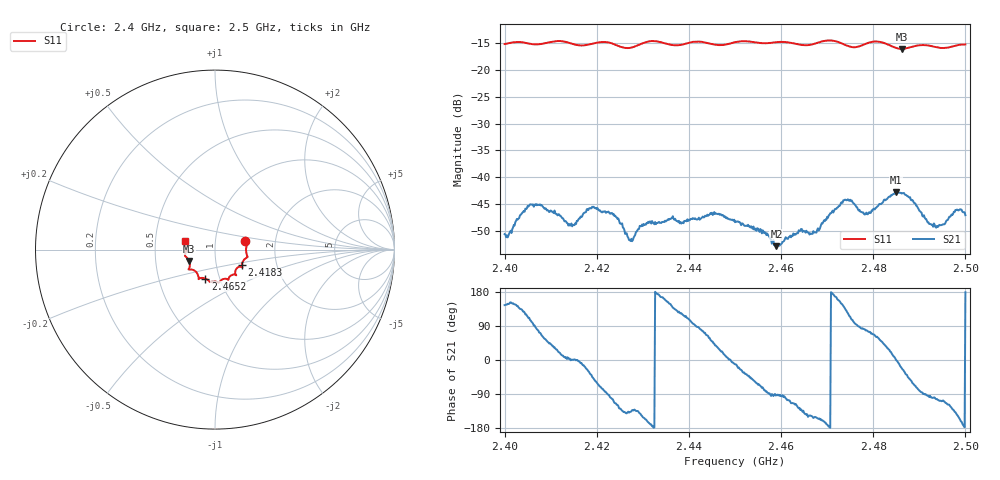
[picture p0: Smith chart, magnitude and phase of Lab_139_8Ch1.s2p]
# Hz S RI R 50
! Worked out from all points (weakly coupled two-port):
!   601 points, 2.4 GHz to 2.5 GHz, reference 50 ohm
!   highest |S21| = -42.80 dB at 2.485 GHz (marker M1); lowest = -52.8 dB at 2.459 GHz (marker M2)
!   lowest |S11| = -16.1 dB at 2.4862 GHz (marker M3), VSWR 1.37, Z = 37.2 - j4.86 ohm
!   |S11| at or under -10 dB: start of sweep to end of sweep
!   S12 and S22 are empty: the file has one direction only
!   S11 on the Smith chart (normalised r, x): 2.4 GHz: 1.40, +0.13; 2.4183 GHz: 1.33, -0.24; 2.4652 GHz: 0.85, -0.28; 2.5 GHz: 0.71, +0.07
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2.4e9  0.1681 0.0468  -0.00241 0.0017  0 0  0 0
2.405667e9  0.1745 0.0125  -0.00136 0.00543  0 0  0 0
2.414333e9  0.1702 -0.0484  0.00356 -4.92e-05  0 0  0 0
2.416667e9  0.1548 -0.0679  0.00421 -0.000571  0 0  0 0
2.418333e9  0.1497 -0.0863  0.00437 -0.00268  0 0  0 0
2.423667e9  0.1453 -0.0963  -0.00148 -0.00429  0 0  0 0
2.427333e9  0.1164 -0.1111  -0.00185 -0.00174  0 0  0 0
2.429833e9  0.1131 -0.135  -0.00307 -0.00192  0 0  0 0
2.433333e9  0.1171 -0.1414  -0.00376 0.000403  0 0  0 0
2.445167e9  0.0609 -0.1625  0.00295 0.00333  0 0  0 0
2.45e9  0.0256 -0.1797  0.00374 -0.000742  0 0  0 0
2.459e9  -0.0229 -0.18  -0.000113 -0.00228  0 0  0 0
2.465167e9  -0.0544 -0.1613  -0.00247 -0.00192  0 0  0 0
2.466667e9  -0.0708 -0.1576  -0.00253 -0.00157  0 0  0 0
2.474e9  -0.0946 -0.1419  -0.00419 0.00453  0 0  0 0
2.4785e9  -0.1375 -0.1102  0.00094 0.00458  0 0  0 0
2.483333e9  -0.1414 -0.097  0.00577 0.00308  0 0  0 0
2.485e9  -0.1399 -0.0777  0.00725 -7.62e-05  0 0  0 0
2.486167e9  -0.1435 -0.0638  0.00657 -0.00255  0 0  0 0
2.493167e9  -0.1636 -0.0185  -0.000567 -0.00367  0 0  0 0
2.498333e9  -0.166 0.038  -0.00414 -0.0027  0 0  0 0
2.5e9  -0.1663 0.0475  -0.00443 0.000103  0 0  0 0
